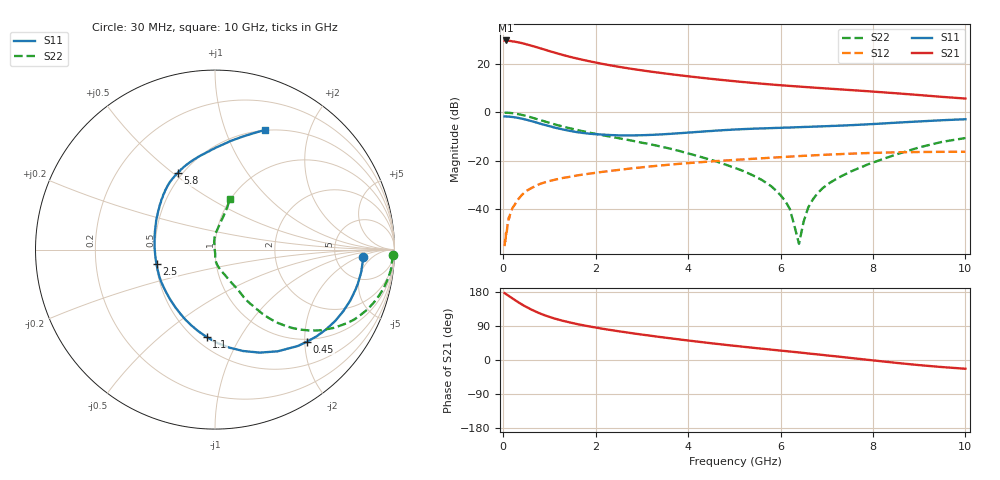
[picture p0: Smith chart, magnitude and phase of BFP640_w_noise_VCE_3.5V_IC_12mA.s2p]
! Infineon Technologies  Discrete & RF Semiconductors
! BFP640
! VCE =  3.5 V,  IC =  12 mA
! Common Emitter S-Parameters:  Apr 2013
# GHz  S  MA  R  50
!  f  S11  S21  S12  S22
! GHz  MAG  ANG  MAG  ANG  MAG  ANG  MAG  ANG
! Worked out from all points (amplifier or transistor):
!   99 points, 30 MHz to 10 GHz, reference 50 ohm
!   highest |S21| = 29.8 dB at 50 MHz (marker M1)
!   |S21| within 3 dB of that: start of sweep to 757.5 MHz
!   unconditionally stable (mu >= 1): 3.478 GHz to end of sweep
!   at 350 MHz: K = 0.19, MSG = 32.2 dB, |S12| = -35.4 dB
!   at 3.5 GHz: K = 1.00, MAG = 18.7 dB, |S12| = -21.8 dB
!   at 10 GHz: K = 1.09, MAG = 9.2 dB, |S12| = -16.3 dB
!   lowest NFmin = 0.69 dB at 450 MHz
!   S11 on the Smith chart (normalised r, x): 30 MHz: 10, -3; 450 MHz: 0.95, -2.05; 1.1 GHz: 0.57, -0.73; 2.5 GHz: 0.50, -0.09; 5.8 GHz: 0.47, +0.52; 10 GHz: 0.49, +1.39
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0.03  0.8275 -2.9  30.85 176.4  0.0017 66.9  0.9895 -1.7
0.05  0.8248 -5.2  30.99 175.0  0.002 42.0  0.9877 -3.2
0.15  0.8149 -15.6  30.25 166.6  0.0078 78.0  0.9769 -9.5
0.25  0.7927 -25.7  29.27 158.4  0.0123 76.8  0.95 -15.6
0.35  0.7624 -35.6  28.03 150.6  0.017 72.8  0.9131 -21.4
0.45  0.7256 -44.9  26.61 143.3  0.0215 68.6  0.8688 -26.6
0.6  0.6659 -58.3  24.3 133.6  0.0268 64.0  0.7936 -33.3
0.7  0.6259 -66.5  22.78 127.9  0.0301 61.4  0.7434 -37.2
0.9  0.5514 -81.8  19.97 117.9  0.0356 56.7  0.6511 -43.2
1.1  0.4893 -95.4  17.5 109.8  0.0401 53.2  0.5714 -47.6
1.4  0.4234 -113.0  14.56 100.3  0.0458 49.8  0.4813 -52.0
1.7  0.3791 -129.2  12.43 92.4  0.0513 47.4  0.413 -54.6
2.1  0.3499 -148.7  10.35 83.5  0.058 44.7  0.3443 -57.6
2.5  0.3355 -165.9  8.837 75.8  0.0646 42.5  0.2927 -59.2
3.4  0.3508 162.2  6.608 60.6  0.0798 36.9  0.1973 -64.2
5.1  0.4474 125.2  4.348 36.2  0.1055 24.6  0.0663 -86.0
5.8  0.4742 116.1  3.794 27.3  0.1153 19.9  0.0296 -87.8
6.2  0.4874 111.9  3.547 22.4  0.1217 16.9  0.0101 -92.8
6.4  0.4953 109.5  3.439 19.9  0.1248 15.2  0.0019 166.3
6.7  0.5079 105.6  3.282 16.0  0.1291 12.7  0.0158 99.7
8.5  0.6135 81.5  2.497 -7.5  0.1493 -3.7  0.1347 80.4
10  0.724 67.2  1.942 -23.1  0.1537 -14.9  0.295 73.6
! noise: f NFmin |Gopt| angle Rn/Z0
0.45  0.69  0.21  8  0.03
0.9  0.7  0.2  17  0.04
1.5  0.72  0.18  28  0.05
1.9  0.74  0.14  47  0.05
2.4  0.78  0.12  58  0.06
3.5  0.9  0.11  69  0.08
5.5  1.11  0.21  -115  0.11
10  1.67  0.58  -59  0.41
